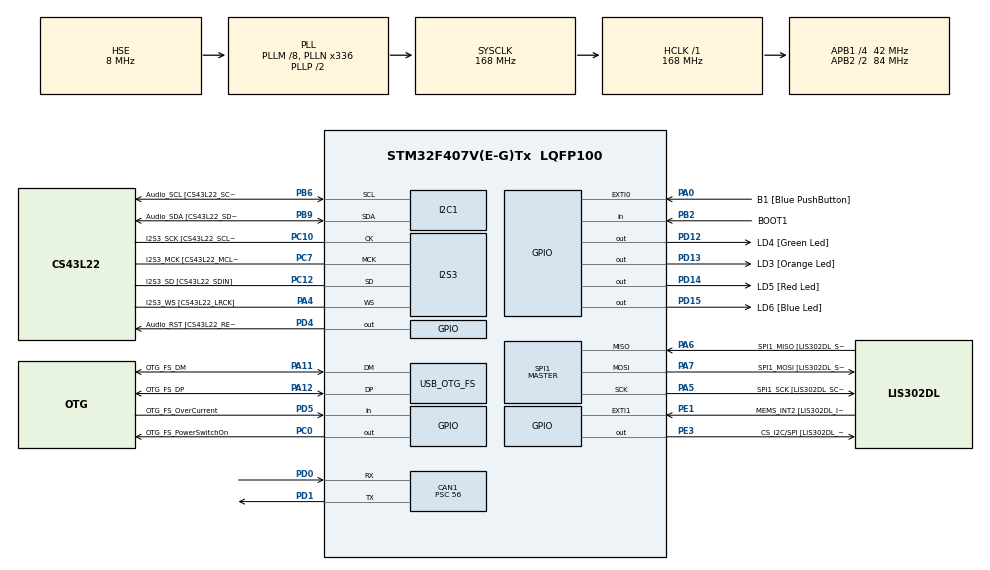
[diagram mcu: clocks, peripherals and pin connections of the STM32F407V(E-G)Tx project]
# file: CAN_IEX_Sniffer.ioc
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CAN1.BS1=CAN_BS1_12TQ
CAN1.BS2=CAN_BS2_2TQ
CAN1.CalculateBaudRate=50000
CAN1.CalculateTimeBit=19999.99
CAN1.CalculateTimeQuantum=1333.3333333333335
CAN1.Prescaler=56
I2S3.AudioFreq-Half_Duplex_Master=I2S_AUDIOFREQ_96K
I2S3.ErrorAudioFreq=-2.34 %
I2S3.ErrorAudioFreq-Half_Duplex_Master=0.8 %
I2S3.FullDuplexMode=I2S_FULLDUPLEXMODE_DISABLE
I2S3.Instance=SPI$Index
I2S3.RealAudioFreq=93.75 KHz
I2S3.RealAudioFreq-Half_Duplex_Master=96.774 KHz
I2S3.VirtualMode=I2S_MODE_MASTER
Mcu.Family=STM32F4
Mcu.Name=STM32F407V(E-G)Tx
Mcu.Package=LQFP100
NVIC.OTG_FS_IRQn=true\:0\:0\:false\:false\:true\:true\:true
NVIC.PriorityGroup=NVIC_PRIORITYGROUP_0
PA0-WKUP.GPIO_Label=B1 [Blue PushButton]
PA0-WKUP.GPIO_ModeDefaultEXTI=GPIO_MODE_EVT_RISING
PA0-WKUP.GPIO_PuPd=GPIO_NOPULL
PA0-WKUP.Signal=GPXTI0
PA10.GPIO_Label=OTG_FS_ID
PA10.GPIO_Mode=GPIO_MODE_AF_PP
PA10.GPIO_PuPd=GPIO_NOPULL
PA10.GPIO_Speed=GPIO_SPEED_FREQ_LOW
PA10.Signal=USB_OTG_FS_ID
PA11.GPIO_Label=OTG_FS_DM
PA11.GPIO_Mode=GPIO_MODE_AF_PP
PA11.GPIO_PuPd=GPIO_NOPULL
PA11.GPIO_Speed=GPIO_SPEED_FREQ_LOW
PA11.Mode=Device_Only
PA11.Signal=USB_OTG_FS_DM
PA12.GPIO_Label=OTG_FS_DP
PA12.GPIO_Mode=GPIO_MODE_AF_PP
PA12.GPIO_PuPd=GPIO_NOPULL
PA12.GPIO_Speed=GPIO_SPEED_FREQ_LOW
PA12.Mode=Device_Only
PA12.Signal=USB_OTG_FS_DP
PA13.GPIO_Label=SWDIO
PA13.Mode=Serial_Wire
PA13.Signal=SYS_JTMS-SWDIO
PA14.GPIO_Label=SWCLK
PA14.Mode=Serial_Wire
PA14.Signal=SYS_JTCK-SWCLK
PA4.GPIO_Label=I2S3_WS [CS43L22_LRCK]
PA4.GPIO_Mode=GPIO_MODE_AF_PP
PA4.GPIO_PuPd=GPIO_NOPULL
PA4.GPIO_Speed=GPIO_SPEED_FREQ_LOW
PA4.Mode=Half_Duplex_Master
PA4.Signal=I2S3_WS
PA5.GPIO_Label=SPI1_SCK [LIS302DL_SCL/SPC]
PA5.GPIO_Mode=GPIO_MODE_AF_PP
PA5.GPIO_PuPd=GPIO_NOPULL
PA5.GPIO_Speed=GPIO_SPEED_FREQ_LOW
PA5.Mode=Full_Duplex_Master
PA5.Signal=SPI1_SCK
PA6.GPIO_Label=SPI1_MISO [LIS302DL_SDO]
PA6.GPIO_Mode=GPIO_MODE_AF_PP
PA6.GPIO_PuPd=GPIO_NOPULL
PA6.GPIO_Speed=GPIO_SPEED_FREQ_LOW
PA6.Mode=Full_Duplex_Master
PA6.Signal=SPI1_MISO
PA7.GPIO_Label=SPI1_MOSI [LIS302DL_SDA/SDI/SDO]
PA7.GPIO_Mode=GPIO_MODE_AF_PP
PA7.GPIO_PuPd=GPIO_NOPULL
PA7.GPIO_Speed=GPIO_SPEED_FREQ_LOW
PA7.Mode=Full_Duplex_Master
PA7.Signal=SPI1_MOSI
PA9.GPIO_Label=VBUS_FS
PA9.GPIO_Mode=GPIO_MODE_INPUT
PA9.GPIO_PuPd=GPIO_NOPULL
PA9.Signal=USB_OTG_FS_VBUS
PB10.GPIO_Label=CLK_IN [MP45DT02_CLK]
PB10.GPIO_Mode=GPIO_MODE_AF_PP
PB10.GPIO_PuPd=GPIO_NOPULL
PB10.GPIO_Speed=GPIO_SPEED_FREQ_LOW
PB10.Signal=I2S2_CK
PB2.GPIO_Label=BOOT1
PB2.GPIO_Mode=GPIO_MODE_INPUT
PB2.GPIO_PuPd=GPIO_NOPULL
PB2.Signal=GPIO_Input
PB3.GPIO_Label=SWO
PB3.Signal=SYS_JTDO-SWO
PB6.GPIO_Label=Audio_SCL [CS43L22_SCL]
PB6.GPIO_Mode=GPIO_MODE_AF_OD
PB6.GPIO_Pu=GPIO_PULLUP
PB6.GPIO_PuPd=GPIO_NOPULL
PB6.GPIO_Speed=GPIO_SPEED_FREQ_LOW
PB6.Mode=I2C
PB6.Signal=I2C1_SCL
PB9.GPIO_Label=Audio_SDA [CS43L22_SDA]
PB9.GPIO_Mode=GPIO_MODE_AF_OD
PB9.GPIO_Pu=GPIO_PULLUP
PB9.GPIO_PuPd=GPIO_NOPULL
PB9.GPIO_Speed=GPIO_SPEED_FREQ_LOW
PB9.Mode=I2C
PB9.Signal=I2C1_SDA
PC0.GPIO_Label=OTG_FS_PowerSwitchOn
PC0.GPIO_PuPd=GPIO_NOPULL
PC0.GPIO_Speed=GPIO_SPEED_FREQ_LOW
PC0.PinState=GPIO_PIN_SET
PC0.Signal=GPIO_Output
PC10.GPIO_Label=I2S3_SCK [CS43L22_SCLK]
PC10.GPIO_Mode=GPIO_MODE_AF_PP
PC10.GPIO_PuPd=GPIO_NOPULL
PC10.GPIO_Speed=GPIO_SPEED_FREQ_LOW
PC10.Mode=Half_Duplex_Master
PC10.Signal=I2S3_CK
PC12.GPIO_Label=I2S3_SD [CS43L22_SDIN]
PC12.GPIO_Mode=GPIO_MODE_AF_PP
PC12.GPIO_PuPd=GPIO_NOPULL
PC12.GPIO_Speed=GPIO_SPEED_FREQ_LOW
PC12.Mode=Half_Duplex_Master
PC12.Signal=I2S3_SD
PC14-OSC32_IN.GPIO_Label=PC14-OSC32_IN
PC14-OSC32_IN.Mode=LSE-External-Oscillator
PC14-OSC32_IN.Signal=RCC_OSC32_IN
PC15-OSC32_OUT.GPIO_Label=PC15-OSC32_OUT
PC15-OSC32_OUT.Mode=LSE-External-Oscillator
PC15-OSC32_OUT.Signal=RCC_OSC32_OUT
PC3.GPIO_Label=PDM_OUT [MP45DT02_DOUT]
PC3.GPIO_Mode=GPIO_MODE_AF_PP
PC3.GPIO_PuPd=GPIO_NOPULL
PC3.GPIO_Speed=GPIO_SPEED_FREQ_LOW
PC3.Signal=I2S2_SD
PC7.GPIO_Label=I2S3_MCK [CS43L22_MCLK]
PC7.GPIO_Mode=GPIO_MODE_AF_PP
PC7.GPIO_PuPd=GPIO_NOPULL
PC7.GPIO_Speed=GPIO_SPEED_FREQ_LOW
PC7.Mode=Master_Clock_Activated
PC7.Signal=I2S3_MCK
PD0.Mode=CAN_Activate
PD0.Signal=CAN1_RX
PD1.Mode=CAN_Activate
PD1.Signal=CAN1_TX
PD12.GPIO_Label=LD4 [Green Led]
PD12.GPIO_PuPd=GPIO_NOPULL
PD12.GPIO_Speed=GPIO_SPEED_FREQ_LOW
PD12.Signal=GPIO_Output
PD13.GPIO_Label=LD3 [Orange Led]
PD13.GPIO_PuPd=GPIO_NOPULL
PD13.GPIO_Speed=GPIO_SPEED_FREQ_LOW
PD13.Signal=GPIO_Output
PD14.GPIO_Label=LD5 [Red Led]
PD14.GPIO_PuPd=GPIO_NOPULL
PD14.GPIO_Speed=GPIO_SPEED_FREQ_LOW
PD14.Signal=GPIO_Output
PD15.GPIO_Label=LD6 [Blue Led]
PD15.GPIO_PuPd=GPIO_NOPULL
PD15.GPIO_Speed=GPIO_SPEED_FREQ_LOW
PD15.Signal=GPIO_Output
PD4.GPIO_Label=Audio_RST [CS43L22_RESET]
PD4.GPIO_PuPd=GPIO_NOPULL
PD4.GPIO_Speed=GPIO_SPEED_FREQ_LOW
PD4.Signal=GPIO_Output
PD5.GPIO_Label=OTG_FS_OverCurrent
PD5.GPIO_Mode=GPIO_MODE_INPUT
PD5.GPIO_PuPd=GPIO_NOPULL
PD5.Signal=GPIO_Input
PE1.GPIO_Label=MEMS_INT2 [LIS302DL_INT2]
PE1.GPIO_ModeDefaultEXTI=GPIO_MODE_EVT_RISING
PE1.GPIO_PuPd=GPIO_NOPULL
PE1.Signal=GPXTI1
PE3.GPIO_Label=CS_I2C/SPI [LIS302DL_CS_I2C/SPI]
PE3.GPIO_PuPd=GPIO_NOPULL
PE3.GPIO_Speed=GPIO_SPEED_FREQ_LOW
PE3.Signal=GPIO_Output
PH0-OSC_IN.GPIO_Label=PH0-OSC_IN
PH0-OSC_IN.Mode=HSE-External-Oscillator
PH0-OSC_IN.Signal=RCC_OSC_IN
PH1-OSC_OUT.GPIO_Label=PH1-OSC_OUT
PH1-OSC_OUT.Mode=HSE-External-Oscillator
PH1-OSC_OUT.Signal=RCC_OSC_OUT
ProjectManager.HeapSize=0x200
ProjectManager.StackSize=0x400
ProjectManager.TargetToolchain=STM32CubeIDE
RCC.48MHZClocksFreq_Value=48000000
RCC.AHBFreq_Value=168000000
RCC.APB1CLKDivider=RCC_HCLK_DIV4
RCC.APB1Freq_Value=42000000
RCC.APB1TimFreq_Value=84000000
RCC.APB2CLKDivider=RCC_HCLK_DIV2
RCC.APB2Freq_Value=84000000
RCC.APB2TimFreq_Value=168000000
RCC.CortexFreq_Value=168000000
RCC.HCLKFreq_Value=168000000
RCC.HSE_VALUE=8000000
RCC.HSI_VALUE=16000000
RCC.PLLM=8
RCC.PLLN=336
RCC.PLLQ=7
RCC.SYSCLKFreq_VALUE=168000000
RCC.SYSCLKSource=RCC_SYSCLKSOURCE_PLLCLK
RCC.VCOOutputFreq_Value=336000000
SPI1.BaudRatePrescaler-Full_Duplex_Master=SPI_BAUDRATEPRESCALER_2
SPI1.CalculateBaudRate-Full_Duplex_Master=42.0 MBits/s
SPI1.Direction=SPI_DIRECTION_2LINES
SPI1.Mode=SPI_MODE_MASTER
SPI1.Mode-Full_Duplex_Master=SPI_MODE_MASTER
SPI1.VirtualType=VM_MASTER
USB_DEVICE.CLASS_NAME_FS=CDC
USB_DEVICE.VirtualMode-CDC_FS=Cdc
USB_DEVICE.VirtualModeFS=Cdc_FS
USB_OTG_FS.VirtualMode=Device_Only
VP_USB_DEVICE_VS_USB_DEVICE_CDC_FS.Mode=CDC_FS
board=STM32F407G-DISC1

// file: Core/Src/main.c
/* USER CODE BEGIN Header */
/**
  ******************************************************************************
  * @file           : main.c
  * @brief          : Main program body
  ******************************************************************************
  * @attention
  *
  * <h2><center>&copy; Copyright (c) 2021 STMicroelectronics.
  * All rights reserved.</center></h2>
  *
  * This software component is licensed by ST under Ultimate Liberty license
  * SLA0044, the "License"; You may not use this file except in compliance with
  * the License. You may obtain a copy of the License at:
  *                             www.st.com/SLA0044
  *
  ******************************************************************************
  */
/* USER CODE END Header */
#include "main.h"
#include "can.h"
#include "i2c.h"
#include "i2s.h"
#include "spi.h"
#include "usb_device.h"
#include "gpio.h"

/* USER CODE BEGIN Includes */
#include "usbd_cdc_if.h"
#include "iex.h"

#include "stm32f4xx_hal_can.h"

/* USER CODE END Includes */

/* USER CODE BEGIN PV */
uint8_t TXbuffer[256]="\nHello World!\0";
uint8_t RXbuffer[256];
volatile uint8_t RXbufferStrLen=0;
uint8_t Cmdbuffer[256];
uint8_t CmdbufferPos=0;

uint32_t CanMsgCnt = 0;

uint8_t printf_buf[256];

extern volatile APP_DEBUG AppDebug;

/* USER CODE END PV */

void SystemClock_Config(void);

int main(void)
{
  /* USER CODE BEGIN 1 */
    uint8_t CAN_Rx_Msg[8];
    CAN_RxHeaderTypeDef RxHeader;
    int ii, jj, pos, tempint;
    int8_t RetVal;
    char RXChar;

  /* USER CODE END 1 */

  /* MCU Configuration--------------------------------------------------------*/

  /* Reset of all peripherals, Initializes the Flash interface and the Systick. */
  HAL_Init();

  /* Configure the system clock */
  SystemClock_Config();

  /* Initialize all configured peripherals */
  MX_GPIO_Init();
  MX_I2C1_Init();
  MX_I2S3_Init();
  MX_SPI1_Init();
  MX_USB_DEVICE_Init();
  MX_CAN1_Init();
  /* USER CODE BEGIN 2 */

  CAN_SetAllFilter(&hcan1);

  HAL_CAN_Start(&hcan1);

  IEX_Init();

  /* USER CODE END 2 */

  /* Infinite loop */
  /* USER CODE BEGIN WHILE */
  while (1)
  {
//	  CDC_Transmit_FS(buffer,sizeof(buffer));
//	  HAL_Delay(1000);
	  if (RXbufferStrLen > 0) {

		  for (ii=0;ii<RXbufferStrLen;ii++) {
			  RXChar = RXbuffer[ii];

			  if (RXChar == 13) {
				  Cmdbuffer[CmdbufferPos] = 0;

				  if ((Cmdbuffer[0]=='r') || (Cmdbuffer[0]=='R')) {
					  IEX_Init ();

	  			  } else if ( (Cmdbuffer[0]=='d') || (Cmdbuffer[0]=='D')) {
	  				AppDebug.CAN = atoi( &(Cmdbuffer[1]) );

	  			  } else if ( (Cmdbuffer[0]=='n') || (Cmdbuffer[0]=='N')) {
	  				CAN_NADFilter= atoi( &(Cmdbuffer[1]) );

	  			  } else if ( (Cmdbuffer[0]=='h') || (Cmdbuffer[0]=='H')) {
	  				pos = snprintf(TXbuffer,256,"CAN Sniffer Settings Debug:%d | NADFilt:%d \r\n d ... debug\r\n N ... NAD filter\r\n\ r ... reset\r\n h ... help\r\nExamples: d11, N10619, r, h.\r\n\r\n\0",AppDebug.CAN,CAN_NADFilter);
	  				CDC_Transmit_FS(TXbuffer,pos+1);

				  }
				  CmdbufferPos = 0;

			  } else {
				  Cmdbuffer[CmdbufferPos++] = RXChar;
			  }

		  }

//		  pos = snprintf(TXbuffer,256,"USB Msg Received: %s \r\n\0",RXbuffer);
//		  CDC_Transmit_FS(TXbuffer,pos+1);
		  RXbufferStrLen = 0;
	  }

    /* USER CODE END WHILE */

    /* USER CODE BEGIN 3 */
      if(HAL_CAN_GetRxFifoFillLevel(&hcan1, CAN_RX_FIFO0) != 0)
      {
          HAL_CAN_GetRxMessage(&hcan1, CAN_RX_FIFO0, &RxHeader, CAN_Rx_Msg);
		  CanMsgCnt++;

          if (RxHeader.IDE) {
              CANBus_Parse_RX_Message (RxHeader.ExtId,RxHeader.DLC, CAN_Rx_Msg);

//          } else {
//              CANBus_Parse_RX_Message (RxHeader.StdId,RxHeader.DLC, CAN_Rx_Msg);

          }

          if  ( ( AppDebug.CAN & 8 )  && (RxHeader.DLC > 0) &&   // only non-zero length messages (disregard baudsync messages)
        		  	  ( CAN_NADFilter == 0 ||
        		  			  	  ( CAN_NADFilter != 0 && (CAN_NADFilter == (RxHeader.ExtId & 0x1FFFFF) && RxHeader.IDE) || (CAN_NADFilter == (RxHeader.StdId & 0x7FF) && !RxHeader.IDE))  )
			   ) { // Debug RAW RX messages
				if (RxHeader.IDE)  {
				  pos = sprintf(TXbuffer,"Can Msg EXT[%d]: Cmd:0x%02x NAD:%7d [CAN_ID=0x%08x]: LEN=%d ",CanMsgCnt,(RxHeader.ExtId>>21),(RxHeader.ExtId & 0x1FFFFF), RxHeader.ExtId, RxHeader.DLC);

				} else {
				  pos = sprintf(TXbuffer,"Can Msg STD[%d]: ID=%4d [0x%3x] : LEN=%d ",CanMsgCnt,RxHeader.StdId, RxHeader.StdId, RxHeader.DLC);
				}

				for (ii=0;ii<RxHeader.DLC;ii++) {
					  tempint = sprintf(TXbuffer+pos,"|%02x",CAN_Rx_Msg[ii]);
					  pos += tempint;
				}
				sprintf(TXbuffer+pos,"\r\n\r\n");
				CDC_Transmit_FS(TXbuffer,strlen(TXbuffer));
          }

      }

  }
  /* USER CODE END 3 */
}

void SystemClock_Config(void)
{
  RCC_OscInitTypeDef RCC_OscInitStruct = {0};
  RCC_ClkInitTypeDef RCC_ClkInitStruct = {0};

  /** Configure the main internal regulator output voltage
  */
  __HAL_RCC_PWR_CLK_ENABLE();
  __HAL_PWR_VOLTAGESCALING_CONFIG(PWR_REGULATOR_VOLTAGE_SCALE1);
  /** Initializes the RCC Oscillators according to the specified parameters
  * in the RCC_OscInitTypeDef structure.
  */
  RCC_OscInitStruct.OscillatorType = RCC_OSCILLATORTYPE_HSE;
  RCC_OscInitStruct.HSEState = RCC_HSE_ON;
  RCC_OscInitStruct.PLL.PLLState = RCC_PLL_ON;
  RCC_OscInitStruct.PLL.PLLSource = RCC_PLLSOURCE_HSE;
  RCC_OscInitStruct.PLL.PLLM = 8;
  RCC_OscInitStruct.PLL.PLLN = 336;
  RCC_OscInitStruct.PLL.PLLP = RCC_PLLP_DIV2;
  RCC_OscInitStruct.PLL.PLLQ = 7;
  if (HAL_RCC_OscConfig(&RCC_OscInitStruct) != HAL_OK)
  {
    Error_Handler();
  }
  /** Initializes the CPU, AHB and APB buses clocks
  */
  RCC_ClkInitStruct.ClockType = RCC_CLOCKTYPE_HCLK|RCC_CLOCKTYPE_SYSCLK
                              |RCC_CLOCKTYPE_PCLK1|RCC_CLOCKTYPE_PCLK2;
  RCC_ClkInitStruct.SYSCLKSource = RCC_SYSCLKSOURCE_PLLCLK;
  RCC_ClkInitStruct.AHBCLKDivider = RCC_SYSCLK_DIV1;
  RCC_ClkInitStruct.APB1CLKDivider = RCC_HCLK_DIV4;
  RCC_ClkInitStruct.APB2CLKDivider = RCC_HCLK_DIV2;

  if (HAL_RCC_ClockConfig(&RCC_ClkInitStruct, FLASH_LATENCY_5) != HAL_OK)
  {
    Error_Handler();
  }
}

void Error_Handler(void)
{
  __disable_irq();
  while (1)
  {
  }
}

/************************ (C) COPYRIGHT STMicroelectronics *****END OF FILE****/
